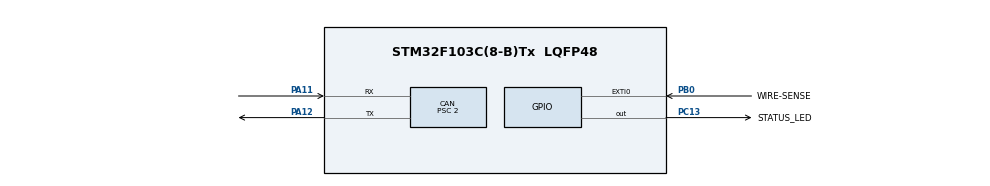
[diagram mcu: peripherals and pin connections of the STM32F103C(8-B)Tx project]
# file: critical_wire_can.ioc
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CAN.BS1=CAN_BS1_13TQ
CAN.BS2=CAN_BS2_2TQ
CAN.CalculateBaudRate=250000
CAN.CalculateTimeBit=4000
CAN.CalculateTimeQuantum=250.0
CAN.Mode=CAN_MODE_LOOPBACK
CAN.Prescaler=2
Mcu.Family=STM32F1
Mcu.Name=STM32F103C(8-B)Tx
Mcu.Package=LQFP48
NVIC.EXTI0_IRQn=true\:0\:0\:false\:false\:true\:true\:true\:true
NVIC.PriorityGroup=NVIC_PRIORITYGROUP_4
NVIC.USB_LP_CAN1_RX0_IRQn=true\:0\:0\:false\:false\:true\:true\:true\:true
PA11.Mode=CAN_Activate
PA11.Signal=CAN_RX
PA12.Mode=CAN_Activate
PA12.Signal=CAN_TX
PA13.Mode=Serial_Wire
PA13.Signal=SYS_JTMS-SWDIO
PA14.Mode=Serial_Wire
PA14.Signal=SYS_JTCK-SWCLK
PB0.GPIO_Label=WIRE-SENSE
PB0.GPIO_ModeDefaultEXTI=GPIO_MODE_IT_FALLING
PB0.GPIO_PuPd=GPIO_PULLDOWN
PB0.Signal=GPXTI0
PC13-TAMPER-RTC.GPIO_Label=STATUS_LED
PC13-TAMPER-RTC.PinState=GPIO_PIN_SET
PC13-TAMPER-RTC.Signal=GPIO_Output
ProjectManager.HeapSize=0x200
ProjectManager.StackSize=0x400
ProjectManager.TargetToolchain=STM32CubeIDE
RCC.APB1Freq_Value=8000000
RCC.APB2Freq_Value=8000000
board=custom

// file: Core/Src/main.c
/* USER CODE BEGIN Header */
/**
  ******************************************************************************
  * @file           : main.c
  * @brief          : Main program body
  ******************************************************************************
  * @attention
  *
  * Copyright (c) 2026 STMicroelectronics.
  * All rights reserved.
  *
  * This software is licensed under terms that can be found in the LICENSE file
  * in the root directory of this software component.
  * If no LICENSE file comes with this software, it is provided AS-IS.
  *
  ******************************************************************************
  */
/* USER CODE END Header */
#include "main.h"

/* USER CODE BEGIN PD */

/** @brief Extended CAN identifier used for wire status messages. */
#define WIRE_CAN_ID       0x1800EEF0UL

/** @brief Periodic transmission interval. */
#define TX_PERIOD_MS      1000U

/* USER CODE END PD */

CAN_HandleTypeDef hcan;

/* USER CODE BEGIN PV */

/** @brief Tick value recorded after the last periodic transmission. */
static uint32_t last_tx_tick = 0U;

/** @brief Number of falling-edge events recorded by the interrupt. */
static volatile uint32_t disconnect_events = 0U;

/** @brief Number of disconnection events successfully queued for CAN. */
static uint32_t disconnect_events_sent = 0U;

/* USER CODE END PV */

void SystemClock_Config(void);
static void MX_GPIO_Init(void);
static void MX_CAN_Init(void);
/* USER CODE BEGIN PFP */

static HAL_StatusTypeDef CAN_SendStatus(uint8_t status);

static void CAN_ConfigFilter(void);

/* USER CODE END PFP */

int main(void)
{

  /* MCU Configuration--------------------------------------------------------*/

  /* Reset of all peripherals, Initializes the Flash interface and the Systick. */
  HAL_Init();

  /* Configure the system clock */
  SystemClock_Config();

  /* Initialize all configured peripherals */
  MX_GPIO_Init();
  MX_CAN_Init();
  /* USER CODE BEGIN 2 */

  CAN_ConfigFilter();

  if (HAL_CAN_Start(&hcan) != HAL_OK)
  {
      Error_Handler();
  }

  if (HAL_CAN_ActivateNotification(
          &hcan,
          CAN_IT_RX_FIFO0_MSG_PENDING) != HAL_OK)
  {
      Error_Handler();
  }

  last_tx_tick = HAL_GetTick();

  /* USER CODE END 2 */

  /* Infinite loop */
  while (1)
  {

      /* USER CODE BEGIN 3 */

      /* Prioritize pending disconnection events. */
      if (disconnect_events_sent != disconnect_events)
      {
          if (CAN_SendStatus(1U) == HAL_OK)
          {
              disconnect_events_sent++;
          }
      }

      /* Send normal status every 1000 milliseconds. */
      uint32_t now = HAL_GetTick();

      if ((uint32_t)(now - last_tx_tick) >= TX_PERIOD_MS)
      {
          if (CAN_SendStatus(0U) == HAL_OK)
          {
              last_tx_tick = now;
          }
      }
  }
  /* USER CODE END 3 */
}

void SystemClock_Config(void)
{
  RCC_OscInitTypeDef RCC_OscInitStruct = {0};
  RCC_ClkInitTypeDef RCC_ClkInitStruct = {0};

  /** Initializes the RCC Oscillators according to the specified parameters
  * in the RCC_OscInitTypeDef structure.
  */
  RCC_OscInitStruct.OscillatorType = RCC_OSCILLATORTYPE_HSI;
  RCC_OscInitStruct.HSIState = RCC_HSI_ON;
  RCC_OscInitStruct.HSICalibrationValue = RCC_HSICALIBRATION_DEFAULT;
  RCC_OscInitStruct.PLL.PLLState = RCC_PLL_NONE;
  if (HAL_RCC_OscConfig(&RCC_OscInitStruct) != HAL_OK)
  {
    Error_Handler();
  }

  /** Initializes the CPU, AHB and APB buses clocks
  */
  RCC_ClkInitStruct.ClockType = RCC_CLOCKTYPE_HCLK|RCC_CLOCKTYPE_SYSCLK
                              |RCC_CLOCKTYPE_PCLK1|RCC_CLOCKTYPE_PCLK2;
  RCC_ClkInitStruct.SYSCLKSource = RCC_SYSCLKSOURCE_HSI;
  RCC_ClkInitStruct.AHBCLKDivider = RCC_SYSCLK_DIV1;
  RCC_ClkInitStruct.APB1CLKDivider = RCC_HCLK_DIV1;
  RCC_ClkInitStruct.APB2CLKDivider = RCC_HCLK_DIV1;

  if (HAL_RCC_ClockConfig(&RCC_ClkInitStruct, FLASH_LATENCY_0) != HAL_OK)
  {
    Error_Handler();
  }
}

static void MX_CAN_Init(void)
{

  hcan.Instance = CAN1;
  hcan.Init.Prescaler = 2;
  hcan.Init.Mode = CAN_MODE_LOOPBACK;
  hcan.Init.SyncJumpWidth = CAN_SJW_1TQ;
  hcan.Init.TimeSeg1 = CAN_BS1_13TQ;
  hcan.Init.TimeSeg2 = CAN_BS2_2TQ;
  hcan.Init.TimeTriggeredMode = DISABLE;
  hcan.Init.AutoBusOff = DISABLE;
  hcan.Init.AutoWakeUp = DISABLE;
  hcan.Init.AutoRetransmission = DISABLE;
  hcan.Init.ReceiveFifoLocked = DISABLE;
  hcan.Init.TransmitFifoPriority = DISABLE;
  if (HAL_CAN_Init(&hcan) != HAL_OK)
  {
    Error_Handler();
  }

}

static void MX_GPIO_Init(void)
{
  GPIO_InitTypeDef GPIO_InitStruct = {0};

  /* GPIO Ports Clock Enable */
  __HAL_RCC_GPIOC_CLK_ENABLE();
  __HAL_RCC_GPIOB_CLK_ENABLE();
  __HAL_RCC_GPIOA_CLK_ENABLE();

  /*Configure GPIO pin Output Level */
  HAL_GPIO_WritePin(STATUS_LED_GPIO_Port, STATUS_LED_Pin, GPIO_PIN_SET);

  /*Configure GPIO pin : STATUS_LED_Pin */
  GPIO_InitStruct.Pin = STATUS_LED_Pin;
  GPIO_InitStruct.Mode = GPIO_MODE_OUTPUT_PP;
  GPIO_InitStruct.Pull = GPIO_NOPULL;
  GPIO_InitStruct.Speed = GPIO_SPEED_FREQ_LOW;
  HAL_GPIO_Init(STATUS_LED_GPIO_Port, &GPIO_InitStruct);

  /*Configure GPIO pin : WIRE_SENSE_Pin */
  GPIO_InitStruct.Pin = WIRE_SENSE_Pin;
  GPIO_InitStruct.Mode = GPIO_MODE_IT_FALLING;
  GPIO_InitStruct.Pull = GPIO_PULLDOWN;
  HAL_GPIO_Init(WIRE_SENSE_GPIO_Port, &GPIO_InitStruct);

  /* EXTI interrupt init*/
  HAL_NVIC_SetPriority(EXTI0_IRQn, 0, 0);
  HAL_NVIC_EnableIRQ(EXTI0_IRQn);

}

/* USER CODE BEGIN 4 */

/**
 * @brief Queues a one-byte wire status frame for CAN.
 * @param status Status byte: 0 for periodic status, 1 for disconnection.
 * @retval HAL_OK The frame was successfully queued.
 * @retval HAL_ERROR The fram could not be queued.
 * @note Successful queueing does not guarantee completed transmission.
 */

static HAL_StatusTypeDef CAN_SendStatus(uint8_t status)
{
	CAN_TxHeaderTypeDef header = {0};
	uint8_t data[8] = {0};
	uint32_t mailbox;

	header.ExtId = WIRE_CAN_ID;
	header.IDE = CAN_ID_EXT;
	header.RTR = CAN_RTR_DATA;
	header.DLC = 1U;
	header.TransmitGlobalTime = DISABLE;

	data[0] = status;

	return HAL_CAN_AddTxMessage(&hcan, &header, data, &mailbox);
}

/**
 * @brief Accepts only extended data frames with WIRE_CAN_ID.
 * @note Payload length and contents are checked by the receive callback.
 */
static void CAN_ConfigFilter(void)
{
    CAN_FilterTypeDef filter = {0};

    /*
     * Extended ID occupies bits 31:3.
     * Bit 2 is IDE: 1 means extended frame.
     * Bit 1 is RTR: 0 means data frame.
     */
    uint32_t filter_id = (WIRE_CAN_ID << 3) | CAN_ID_EXT;
    uint32_t filter_mask = 0xFFFFFFFEUL;

    filter.FilterBank = 0U;
    filter.FilterMode = CAN_FILTERMODE_IDMASK;
    filter.FilterScale = CAN_FILTERSCALE_32BIT;

    filter.FilterIdHigh = (filter_id >> 16) & 0xFFFFU;
    filter.FilterIdLow = filter_id & 0xFFFFU;

    filter.FilterMaskIdHigh = (filter_mask >> 16) & 0xFFFFU;
    filter.FilterMaskIdLow = filter_mask & 0xFFFFU;

    filter.FilterFIFOAssignment = CAN_FILTER_FIFO0;
    filter.FilterActivation = ENABLE;

    if (HAL_CAN_ConfigFilter(&hcan, &filter) != HAL_OK)
    {
        Error_Handler();
    }
}

/**
 * @brief Processes pending frames in CAN receive FIFO 0.
 * @param hcan_ptr Handle of the CAN peripheral that raised the interrupt.
 * @note Data 0 turns the active-low LED on; data 1 toggles it.
 */
void HAL_CAN_RxFifo0MsgPendingCallback(CAN_HandleTypeDef *hcan_ptr)
{
    CAN_RxHeaderTypeDef header;
    uint8_t data[8];

    if (hcan_ptr->Instance != CAN1)
    {
        return;
    }

    while (HAL_CAN_GetRxFifoFillLevel(hcan_ptr, CAN_RX_FIFO0) > 0U)
    {
        if (HAL_CAN_GetRxMessage(
                hcan_ptr,
                CAN_RX_FIFO0,
                &header,
                data) != HAL_OK)
        {
            return;
        }

        /* Check frame format and payload length. */
        if ((header.IDE != CAN_ID_EXT) ||
            (header.ExtId != WIRE_CAN_ID) ||
            (header.RTR != CAN_RTR_DATA) ||
            (header.DLC != 1U))
        {
            continue;
        }

        if (data[0] == 0U)
        {
            HAL_GPIO_WritePin(
                STATUS_LED_GPIO_Port,
                STATUS_LED_Pin,
                GPIO_PIN_RESET);
        }
        else if (data[0] == 1U)
        {
            HAL_GPIO_TogglePin(
                STATUS_LED_GPIO_Port,
                STATUS_LED_Pin);
        }
        /* Other payload values are ignored. */
    }
}

/**
 * @brief Records a falling edge on the critical-wire input.
 * @param GPIO_Pin Pin that triggered the external interrupt.
 * @note CAN transmission is performed by the main loop.
 */
void HAL_GPIO_EXTI_Callback(uint16_t GPIO_Pin)
{
    if (GPIO_Pin == WIRE_SENSE_Pin)
    {
        disconnect_events++;
    }
}

/* USER CODE END 4 */

void Error_Handler(void)
{
  __disable_irq();
  while (1)
  {
  }
}
